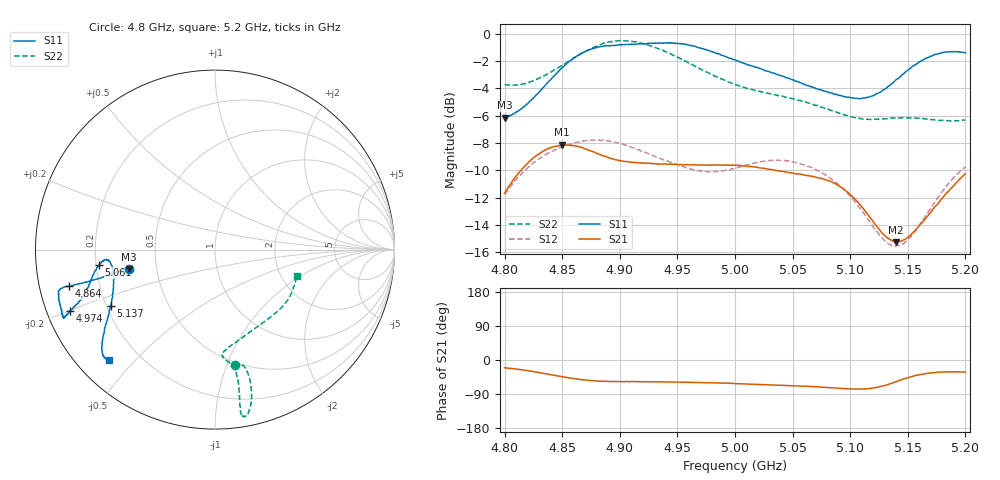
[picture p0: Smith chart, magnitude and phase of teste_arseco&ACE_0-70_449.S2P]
! Network Analyzer HP8722D
! Hewlett-Packard
! Data name: Linha & Wilkinson
! Saver's name: Rodrigo Anjos
! Comments: Teste da utilização de aquisição
! continua pelo VNA HP8722D
! Time and date: 8/5/2025 16:30
!  Frequency  S11  S21  S12  S22
# HZ  S  MA R 50
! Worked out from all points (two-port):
!   401 points, 4.8 GHz to 5.2 GHz, reference 50 ohm
!   highest |S21| = -8.13 dB at 4.85 GHz (marker M1); lowest = -15.3 dB at 5.14 GHz (marker M2)
!   |S21| within 3 dB of the highest: 4.804 GHz to 5.09 GHz (286.2 MHz wide, 5.78 % of centre); 5.18977 GHz to end of sweep
!   lowest |S11| = -6.1 dB at 4.8 GHz (marker M3), VSWR 2.94, Z = 17.2 - j4.87 ohm
!   |S11| at or under -10 dB: nowhere
!   |S22| runs from -6.4 to -0.5 dB; largest |S21 - S12| = 0.62
!   S11 on the Smith chart (normalised r, x): 4.8 GHz: 0.34, -0.10; 4.864 GHz: 0.09, -0.12; 4.974 GHz: 0.07, -0.20; 5.061 GHz: 0.21, -0.06; 5.137 GHz: 0.22, -0.24; 5.2 GHz: 0.09, -0.42
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4.8e9  0.493 -167.4  0.2607 -20.6  0.258 -141.8  0.6526 -80.2
4.821e9  0.5604 -167.1  0.3391 -28.6  0.3259 -144.9  0.6636 -76.4
4.85e9  0.752 -165.8  0.3921 -44.1  0.3848 -150.3  0.7669 -75.1
4.864e9  0.8369 -165.9  0.3872 -50.6  0.4006 -152.4  0.8339 -75.9
4.867e9  0.8502 -166.1  0.3838 -51.9  0.4034 -153.0  0.8492 -76.1
4.881e9  0.8951 -165.5  0.3642 -55.5  0.4087 -155.2  0.9061 -77.6
4.9e9  0.9122 -162.9  0.3428 -57.0  0.3967 -157.0  0.9442 -79.8
4.934e9  0.9254 -156.6  0.3334 -57.7  0.3518 -155.8  0.88 -81.0
4.953e9  0.9199 -155.8  0.3323 -58.4  0.3273 -152.2  0.8101 -80.4
4.974e9  0.8763 -156.9  0.3306 -59.7  0.3133 -145.8  0.7294 -80.1
5e9  0.8023 -159.4  0.3302 -62.2  0.3223 -137.7  0.6526 -81.7
5.036e9  0.7117 -166.1  0.3157 -66.7  0.3437 -135.1  0.5966 -86.0
5.061e9  0.6507 -172.4  0.3035 -69.3  0.3302 -137.2  0.5645 -84.1
5.067e9  0.639 -173.5  0.301 -70.1  0.3233 -137.7  0.5523 -82.6
5.099e9  0.5858 -172.2  0.2603 -76.1  0.2565 -139.5  0.4987 -67.4
5.115e9  0.5858 -164.7  0.2189 -75.7  0.2105 -135.6  0.487 -55.8
5.134e9  0.6459 -153.3  0.1769 -63.3  0.1694 -118.9  0.4906 -42.9
5.137e9  0.6623 -151.5  0.1737 -60.4  0.1679 -114.9  0.4922 -41.1
5.14e9  0.6799 -150.0  0.1727 -57.2  0.1673 -111.0  0.4921 -39.4
5.152e9  0.7468 -144.9  0.1825 -45.0  0.1795 -95.8  0.4914 -33.1
5.172e9  0.835 -139.0  0.2281 -33.5  0.237 -81.2  0.4841 -24.4
5.2e9  0.8515 -133.7  0.3072 -32.1  0.3257 -77.6  0.4821 -17.6
